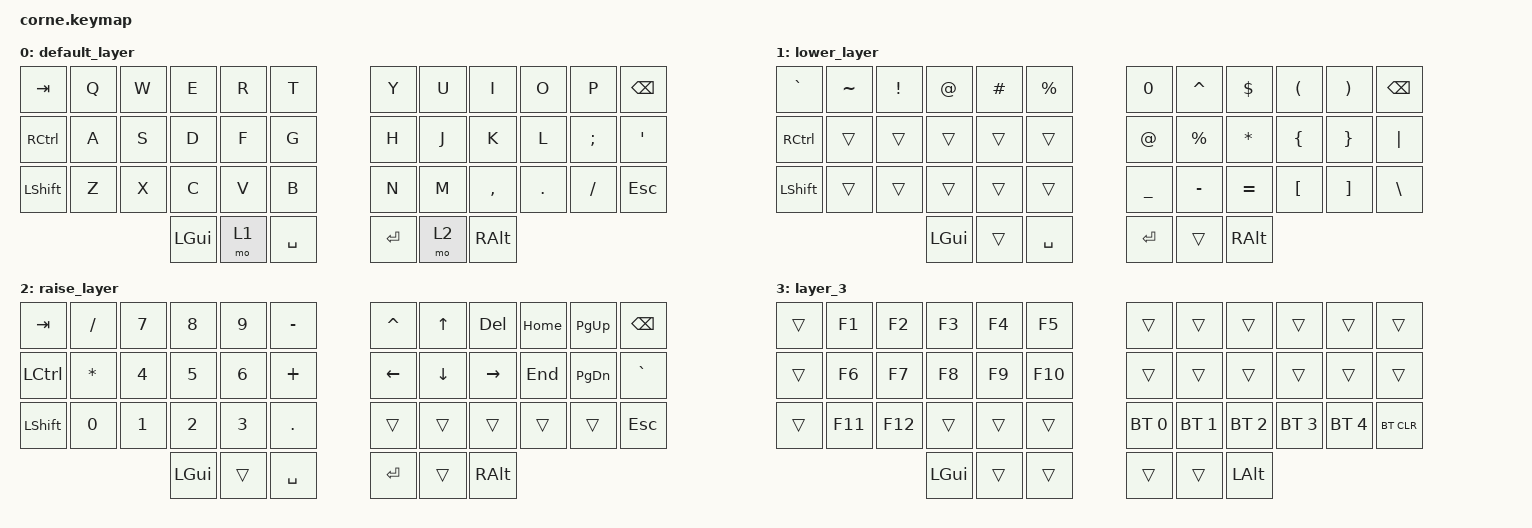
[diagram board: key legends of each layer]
/*
 * Copyright (c) 2020 The ZMK Contributors
 *
 * SPDX-License-Identifier: MIT
 */

#include <behaviors.dtsi>
#include <dt-bindings/zmk/bt.h>
#include <dt-bindings/zmk/keys.h>

/ {
    keymap {
        compatible = "zmk,keymap";

        default_layer {
            // -----------------------------------------------------------------------------------------
            // |  TAB |  Q  |  W  |  E  |  R  |  T  |   |  Y  |  U   |  I  |  O  |  P  | BKSP |
            // | CTRL |  A  |  S  |  D  |  F  |  G  |   |  H  |  J   |  K  |  L  |  ;  |  '   |
            // | SHFT |  Z  |  X  |  C  |  V  |  B  |   |  N  |  M   |  ,  |  .  |  /  | ESC  |
            //                    | GUI | LWR | SPC |   | ENT | RSE  | ALT |

            bindings = <
&kp TAB         &kp Q  &kp W  &kp E     &kp R  &kp T        &kp Y    &kp U  &kp I      &kp O    &kp P     &kp BSPC
&kp RCTRL       &kp A  &kp S  &kp D     &kp F  &kp G        &kp H    &kp J  &kp K      &kp L    &kp SEMI  &kp SQT
&kp LEFT_SHIFT  &kp Z  &kp X  &kp C     &kp V  &kp B        &kp N    &kp M  &kp COMMA  &kp DOT  &kp FSLH  &kp ESC
                              &kp LGUI  &mo 1  &kp SPACE    &kp RET  &mo 2  &kp RALT
            >;
        };

        lower_layer {
            // -----------------------------------------------------------------------------------------
            // |  TAB |  1  |  2  |  3  |  4  |  5  |   |  6  |  7  |  8  |  9  |  0  | BKSP |
            // | BTCLR| BT1 | BT2 | BT3 | BT4 | BT5 |   | LFT | DWN |  UP | RGT |     |      |
            // | SHFT |     |     |     |     |     |   |     |     |     |     |     |      |
            //                    | GUI |     | SPC |   | ENT |     | ALT |

            bindings = <
&kp GRAVE       &kp TILDE  &kp EXCLAMATION  &kp AT_SIGN  &kp HASH  &kp PERCENT    &kp N0          &kp CARET    &kp DOLLAR    &kp LEFT_PARENTHESIS  &kp RIGHT_PARENTHESIS  &kp BSPC
&kp RCTRL       &trans     &trans           &trans       &trans    &trans         &kp AT_SIGN     &kp PERCENT  &kp ASTERISK  &kp LEFT_BRACE        &kp RIGHT_BRACE        &kp PIPE
&kp LEFT_SHIFT  &trans     &trans           &trans       &trans    &trans         &kp UNDERSCORE  &kp MINUS    &kp EQUAL     &kp LEFT_BRACKET      &kp RIGHT_BRACKET      &kp BACKSLASH
                                            &kp LGUI     &trans    &kp SPACE      &kp RET         &trans       &kp RALT
            >;
        };

        raise_layer {
            // -----------------------------------------------------------------------------------------
            // |  TAB |  !  |  @  |  #  |  $  |  %  |   |  ^  |  &  |  *  |  (  |  )  | BKSP |
            // | CTRL |     |     |     |     |     |   |  -  |  =  |  [  |  ]  |  \  |  `   |
            // | SHFT |     |     |     |     |     |   |  _  |  +  |  {  |  }  | "|" |  ~   |
            //                    | GUI |     | SPC |   | ENT |     | ALT |

            bindings = <
&kp TAB    &kp SLASH     &kp N7        &kp N8        &kp N9        &kp MINUS     &kp CARET  &kp UP    &kp DEL    &kp HOME  &kp PAGE_UP    &kp BSPC
&kp LCTRL  &kp ASTERISK  &kp NUMBER_4  &kp N5        &kp NUMBER_6  &kp PLUS      &kp LEFT   &kp DOWN  &kp RIGHT  &kp END   &kp PAGE_DOWN  &kp GRAVE
&kp LSHFT  &kp N0        &kp NUMBER_1  &kp NUMBER_2  &kp NUMBER_3  &kp PERIOD    &trans     &trans    &trans     &trans    &trans         &kp ESCAPE
                                       &kp LGUI      &trans        &kp SPACE     &kp RET    &trans    &kp RALT
            >;
        };

        layer_3 {
            bindings = <
&trans  &kp F1   &kp F2   &kp F3        &kp F4  &kp F5     &trans        &trans        &trans        &trans        &trans        &trans
&trans  &kp F6   &kp F7   &kp F8        &kp F9  &kp F10    &trans        &trans        &trans        &trans        &trans        &trans
&trans  &kp F11  &kp F12  &trans        &trans  &trans     &bt BT_SEL 0  &bt BT_SEL 1  &bt BT_SEL 2  &bt BT_SEL 3  &bt BT_SEL 4  &bt BT_CLR
                          &kp LEFT_GUI  &trans  &trans     &trans        &trans        &kp LEFT_ALT
            >;
        };
    };

    conditional_layers {
        compatible = "zmk,conditional-layers";

        layer_3 {
            if-layers = <1 2>;
            then-layer = <3>;
        };
    };
};
